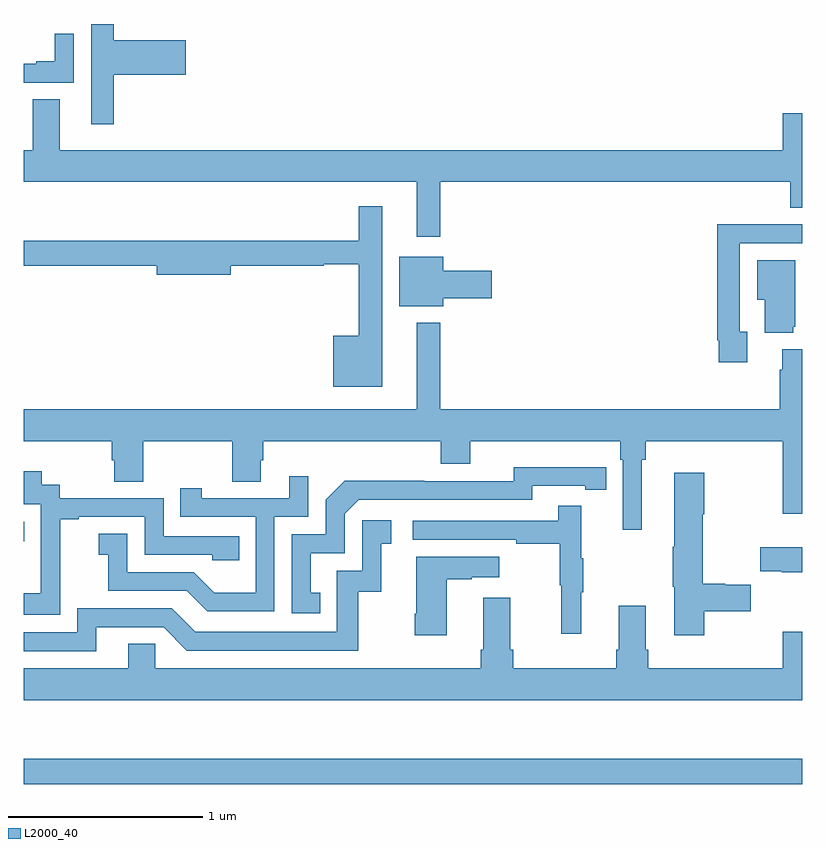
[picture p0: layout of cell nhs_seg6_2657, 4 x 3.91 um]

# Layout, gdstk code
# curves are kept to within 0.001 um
import gdstk
lib = gdstk.Library(unit=1e-6, precision=1e-09)
def R(c, l, rs):  # rectangles x0, y0, x1, y1
    for r in rs: c.add(gdstk.rectangle(r[:2], r[2:], *l))
def P(c, l, *ps):  # polygons
    for p in ps: c.add(gdstk.Polygon(p, *l))
L2000_40 = (2000, 40)

nhs_seg6_2657 = lib.new_cell('nhs_seg6_2657')
R(nhs_seg6_2657, L2000_40, [(269,925.594,273,925.723), (269,926.842,269.003,926.943)])
P(nhs_seg6_2657, L2000_40, [(269.462,929.239),(269.833,929.239),(269.833,929.417),(269.462,929.417),(269.462,929.5),(269.346,929.5),(269.346,928.986),(269.462,928.986)],
  [(269.256,929.449),(269.159,929.449),(269.159,929.308),(269.063,929.308),(269.063,929.295),(269,929.295),(269,929.199),(269.256,929.199)],
  [(271.141,928.688),(272.939,928.688),(272.939,928.555),(273,928.555),(273,929.041),(272.9,929.041),(272.9,928.852),(269.185,928.852),(269.185,929.114),(269.045,929.114),(269.045,928.852),(269,928.852),(269,928.688),(271.019,928.688),(271.019,928.407),(271.141,928.407)],
  [(270.841,928.564),(270.72,928.564),(270.72,928.387),(269,928.387),(269,928.258),(269.684,928.258),(269.684,928.211),(270.064,928.211),(270.064,928.258),(270.541,928.258),(270.541,928.266),(270.72,928.266),(270.72,927.898),(270.59,927.898),(270.59,927.635),(270.841,927.635)],
  [(272.719,927.918),(272.679,927.918),(272.679,928.374),(273,928.374),(273,928.47),(272.855,928.47),(272.855,928.472),(272.563,928.472),(272.563,927.874),(272.571,927.874),(272.571,927.762),(272.719,927.762)],
  [(271.156,928.091),(271.405,928.091),(271.405,928.233),(271.156,928.233),(271.156,928.303),(270.929,928.303),(270.929,928.049),(271.156,928.049)],
  [(272.954,927.945),(272.965,927.945),(272.965,928.285),(272.768,928.285),(272.768,928.082),(272.807,928.082),(272.807,927.914),(272.954,927.914)],
  [(271.141,927.964),(271.019,927.964),(271.019,927.52),(269,927.52),(269,927.356),(269.453,927.356),(269.453,927.258),(269.465,927.258),(269.465,927.148),(269.613,927.148),(269.613,927.356),(270.07,927.356),(270.07,927.148),(270.217,927.148),(270.217,927.258),(270.23,927.258),(270.23,927.356),(271.142,927.356),(271.142,927.239),(271.294,927.239),(271.294,927.356),(272.066,927.356),(272.066,927.26),(272.079,927.26),(272.079,926.901),(272.176,926.901),(272.176,927.26),(272.195,927.26),(272.195,927.356),(272.9,927.356),(272.9,926.982),(273,926.982),(273,927.829),(272.897,927.829),(272.897,927.722),(272.885,927.722),(272.885,927.52),(271.141,927.52)],
  [(270.524,926.577),(270.475,926.577),(270.475,926.781),(270.648,926.781),(270.648,926.982),(270.72,927.054),(271.614,927.054),(271.614,927.126),(271.886,927.126),(271.886,927.106),(271.994,927.106),(271.994,927.222),(271.518,927.223),(271.518,927.15),(271.058,927.15),(271.058,927.152),(270.65,927.152),(270.552,927.054),(270.552,926.877),(270.378,926.877),(270.378,926.472),(270.524,926.472)],
  [(269.187,926.671),(269.186,926.671),(269.186,926.955),(269.281,926.955),(269.281,926.967),(269.622,926.967),(269.622,926.772),(269.967,926.772),(269.967,926.745),(270.107,926.745),(270.107,926.868),(269.718,926.868),(269.718,927.063),(269.184,927.063),(269.184,927.132),(269.092,927.132),(269.092,927.202),(269,927.202),(269,927.033),(269.088,927.033),(269.088,926.804),(269.087,926.804),(269.087,926.575),(269,926.575),(269,926.465),(269.187,926.465)],
  [(272.496,926.482),(272.737,926.482),(272.737,926.617),(272.604,926.617),(272.604,926.624),(272.488,926.624),(272.488,926.98),(272.496,926.98),(272.496,927.193),(272.342,927.193),(272.342,926.813),(272.335,926.813),(272.335,926.607),(272.342,926.607),(272.342,926.358),(272.496,926.358)],
  [(270.288,926.967),(270.462,926.967),(270.462,927.175),(270.365,927.175),(270.365,927.063),(269.914,927.063),(269.914,927.115),(269.803,927.115),(269.803,926.967),(270.192,926.967),(270.192,926.578),(269.978,926.578),(269.874,926.682),(269.532,926.682),(269.532,926.881),(269.385,926.881),(269.385,926.771),(269.434,926.771),(269.434,926.586),(269.837,926.586),(269.942,926.481),(270.288,926.481)],
  [(271.865,926.579),(271.876,926.579),(271.876,926.753),(271.865,926.753),(271.865,927.025),(271.747,927.025),(271.747,926.946),(270.999,926.946),(270.999,926.85),(271.531,926.85),(271.531,926.83),(271.755,926.83),(271.755,926.616),(271.762,926.616),(271.762,926.367),(271.865,926.367)],
  [(269.371,926.4),(269.718,926.4),(269.838,926.28),(270.718,926.28),(270.718,926.583),(270.836,926.583),(270.836,926.829),(270.889,926.829),(270.889,926.95),(270.738,926.95),(270.738,926.691),(270.609,926.691),(270.609,926.376),(269.88,926.376),(269.76,926.496),(269.274,926.496),(269.274,926.373),(269,926.373),(269,926.277),(269.371,926.277)],
  [(273,926.812),(272.784,926.812),(272.784,926.687),(272.896,926.687),(272.896,926.683),(273,926.683)],
  [(271.174,926.647),(271.301,926.647),(271.301,926.657),(271.444,926.657),(271.444,926.761),(271.016,926.761),(271.016,926.47),(271.009,926.47),(271.009,926.358),(271.174,926.358)],
  [(273,926.377),(272.9,926.377),(272.9,926.188),(272.21,926.188),(272.21,926.284),(272.197,926.284),(272.197,926.509),(272.057,926.509),(272.057,926.284),(272.045,926.284),(272.045,926.188),(271.514,926.188),(271.514,926.284),(271.501,926.284),(271.501,926.551),(271.361,926.551),(271.361,926.284),(271.349,926.284),(271.349,926.188),(269.676,926.188),(269.676,926.315),(269.537,926.315),(269.537,926.188),(269,926.188),(269,926.024),(273,926.024)])

lib.write_gds('nhs_seg6_2657.gds')
